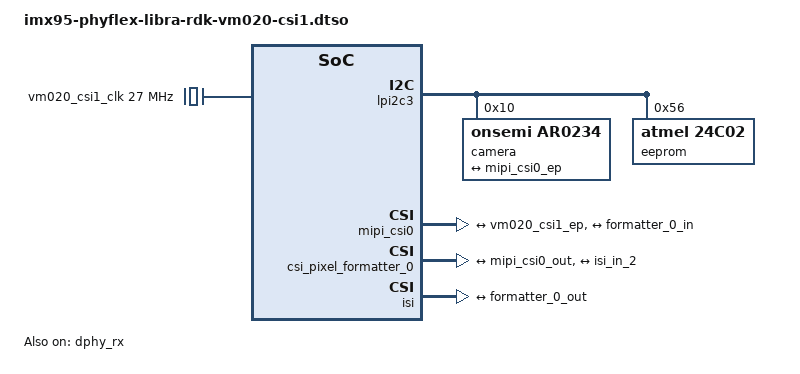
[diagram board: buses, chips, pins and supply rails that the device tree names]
// SPDX-License-Identifier: (GPL-2.0+ OR MIT)
/*
 * Copyright (C) 2025 PHYTEC Messtechnik GmbH
 * Author: Stefan Riedmüller <s.riedmueller@phytec.de>
 */

/dts-v1/;
/plugin/;

#include <dt-bindings/media/video-interfaces.h>

&{/} {
	vm020_csi1_clk: vm020-csi1-ext-clk {
		#clock-cells = <0>;
		compatible = "fixed-clock";
		clock-frequency = <27000000>;
	};
};

&lpi2c3 {
	#address-cells = <1>;
	#size-cells = <0>;
	status = "okay";

	camera@10 {
		#address-cells = <0x1>;
		#size-cells = <0x0>;

		compatible = "onsemi,ar0234";
		reg = <0x10>;
		clocks = <&vm020_csi1_clk>;
		clock-names = "ext";
		orientation = <2>;
		rotation = <0>;

		port@0 {
			reg = <0>;

			vm020_csi1_ep: endpoint {
				remote-endpoint = <&mipi_csi0_ep>;
				bus-type = <MEDIA_BUS_TYPE_CSI2_DPHY>;
				link-frequencies = /bits/ 64 <450000000>;
				data-lanes = <1 2 3 4>;
				clock-lanes = <0>;
				clock-noncontinuous = <1>;
			};
		};
	};

	eeprom@56 {
		compatible = "atmel,24c02";
		reg = <0x56>;
		pagesize = <16>;
	};
};

&dphy_rx {
	status = "okay";
};

&mipi_csi0 {
	status = "okay";

	ports {
		#address-cells = <1>;
		#size-cells = <0>;

		port@0 {
			reg = <0>;
			mipi_csi0_ep: endpoint {
				remote-endpoint = <&vm020_csi1_ep>;
				data-lanes = <1 2 3 4>;
				clock-lanes = <0>;
			};
		};

		port@1 {
			reg = <1>;
				mipi_csi0_out: endpoint {
				remote-endpoint = <&formatter_0_in>;
			};
		};
	};
};

&csi_pixel_formatter_0 {
	status = "okay";

	ports {
		#address-cells = <1>;
		#size-cells = <0>;

		port@0 {
			reg = <0>;

			formatter_0_in: endpoint {
				remote-endpoint = <&mipi_csi0_out>;
			};
		};

		port@1 {
			reg = <1>;

			formatter_0_out: endpoint {
				remote-endpoint = <&isi_in_2>;
			};
		};
	};
};

&isi {
	status = "okay";
	dma-coherent;

	ports {
		#address-cells = <1>;
		#size-cells = <0>;

		port@2 {
			reg = <2>;

			isi_in_2: endpoint {
				remote-endpoint = <&formatter_0_out>;
			};
		};
	};
};
